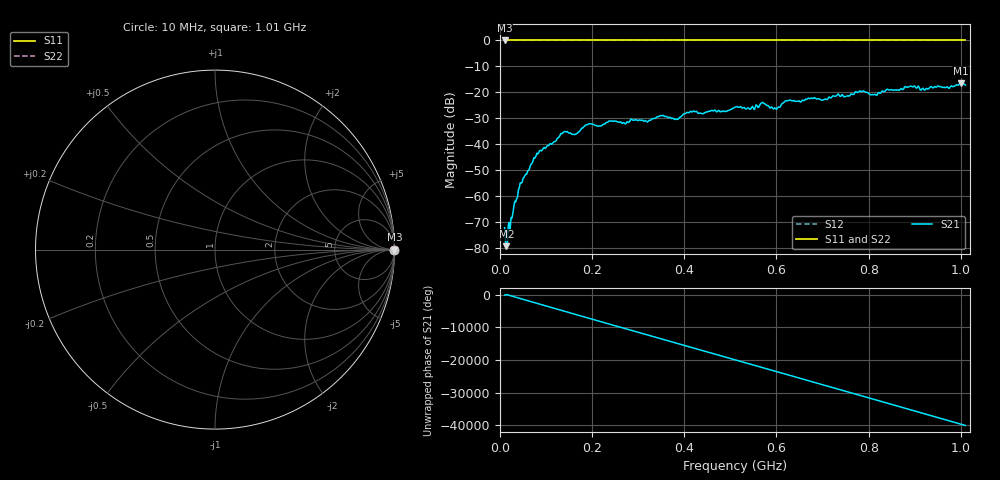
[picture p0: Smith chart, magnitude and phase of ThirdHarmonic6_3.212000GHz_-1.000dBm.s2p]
! 8/17/2025 9:47:04 AM
! C:\ANRITSUVNA\TEMP\TEMP.S2P
! CHANNEL.1
! TR.MEASUREMENT
! RAW.DATA
! RF.CORRECTION.OFF
! AVERAGING.OFF
! IF.BANDWIDTH: 5KHZ
! SWEEPTYPE:  FREQ.SWEEP(Linear)
! Reference Plane Port Info
! PORT:  PORT1  PORT2
! DISTANCE:  0  m  0  m
! TIME:  0  s  0  s
! PHASE.OFFSET:  0  deg.  0  deg.
! LOSS:  0  dB  0  dB
! REF.LOSS:  0  dB  0  dB
! REF.FREQ:  0  Hz  0  Hz
! Power Info
! POWER:  -20  dBm  -20  dBm
! EFF.POWER:  -20  dBm  -20  dBm
! SOURCE.ATTEN:  0  dB  0  dB
! TEST.ATTEN:  0  dB  0  dB
# GHZ S RI R 50.0
! FREQ.GHZ  S11RE  S11IM  S21RE  S21IM  S12RE  S12IM  S22RE  S22IM
!; PortSelection: Port_12
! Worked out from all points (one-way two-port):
!   501 points, 10 MHz to 1.01 GHz, reference 50 ohm
!   highest |S21| = -16.47 dB at 1 GHz (marker M1); lowest = -79.2 dB at 14 MHz (marker M2)
!   lowest |S11| = 0.0 dB at 10 MHz (marker M3)
!   |S11| at or under -10 dB: nowhere
!   |S22| runs from 0.0 to 0.0 dB; largest |S21 - S12| = 1.1
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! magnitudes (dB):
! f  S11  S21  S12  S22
! 10 MHz  0.0  -72.1  0.0  0.0
! 14 MHz  0.0  -79.2  0.0  0.0
! 18 MHz  0.0  -71.3  0.0  0.0
! 44 MHz  0.0  -54.8  0.0  0.0
! 76 MHz  0.0  -45.3  0.0  0.0
! 136 MHz  0.0  -35.6  0.0  0.0
! 162 MHz  0.0  -36.2  0.0  0.0
! 178 MHz  0.0  -33.8  0.0  0.0
! 344 MHz  0.0  -29.4  0.0  0.0
! 382 MHz  0.0  -30.3  0.0  0.0
! 416 MHz  0.0  -27.5  0.0  0.0
! 510 MHz  0.0  -25.7  0.0  0.0
! 548 MHz  0.0  -25.3  0.0  0.0
! 570 MHz  0.0  -23.8  0.0  0.0
! 598 MHz  0.0  -26.2  0.0  0.0
! 624 MHz  0.0  -23.2  0.0  0.0
! 678 MHz  0.0  -22.3  0.0  0.0
! 784 MHz  0.0  -19.7  0.0  0.0
! 814 MHz  0.0  -20.7  0.0  0.0
! 844 MHz  0.0  -19.1  0.0  0.0
! 1 GHz  0.0  -16.5  0.0  0.0
! 1.01 GHz  0.0  -17.2  0.0  0.0
